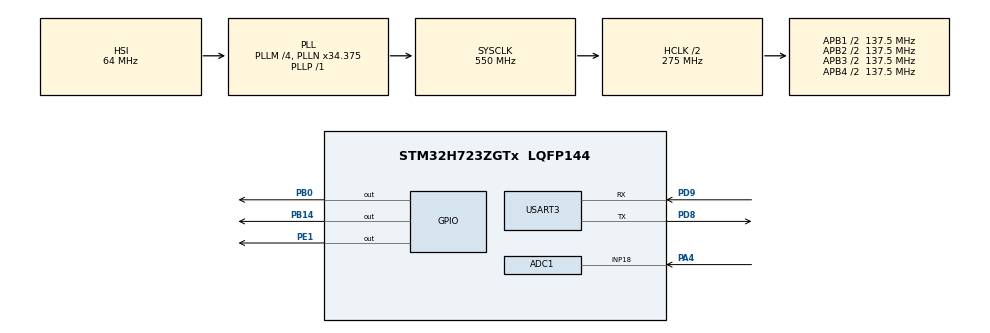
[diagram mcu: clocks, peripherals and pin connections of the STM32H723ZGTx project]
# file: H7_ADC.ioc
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ADC1.Channel-1\#ChannelRegularConversion=ADC_CHANNEL_18
ADC1.ContinuousConvMode=ENABLE
ADC1.ConversionDataManagement=ADC_CONVERSIONDATA_DMA_CIRCULAR
ADC1.NbrOfConversionFlag=1
ADC1.OffsetNumber-1\#ChannelRegularConversion=ADC_OFFSET_NONE
ADC1.OffsetSignedSaturation-1\#ChannelRegularConversion=DISABLE
ADC1.Rank-1\#ChannelRegularConversion=1
ADC1.SamplingTime-1\#ChannelRegularConversion=ADC_SAMPLETIME_1CYCLE_5
ADC1.master=1
Dma.ADC1.0.Direction=DMA_PERIPH_TO_MEMORY
Dma.ADC1.0.EventEnable=DISABLE
Dma.ADC1.0.FIFOMode=DMA_FIFOMODE_ENABLE
Dma.ADC1.0.FIFOThreshold=DMA_FIFO_THRESHOLD_FULL
Dma.ADC1.0.Instance=DMA1_Stream0
Dma.ADC1.0.MemBurst=DMA_MBURST_SINGLE
Dma.ADC1.0.MemDataAlignment=DMA_MDATAALIGN_HALFWORD
Dma.ADC1.0.MemInc=DMA_MINC_ENABLE
Dma.ADC1.0.Mode=DMA_CIRCULAR
Dma.ADC1.0.PeriphBurst=DMA_PBURST_SINGLE
Dma.ADC1.0.PeriphDataAlignment=DMA_PDATAALIGN_HALFWORD
Dma.ADC1.0.PeriphInc=DMA_PINC_DISABLE
Dma.ADC1.0.Polarity=HAL_DMAMUX_REQ_GEN_RISING
Dma.ADC1.0.Priority=DMA_PRIORITY_LOW
Dma.ADC1.0.RequestNumber=1
Dma.ADC1.0.SignalID=NONE
Dma.ADC1.0.SyncEnable=DISABLE
Dma.ADC1.0.SyncPolarity=HAL_DMAMUX_SYNC_NO_EVENT
Dma.ADC1.0.SyncRequestNumber=1
Dma.ADC1.0.SyncSignalID=NONE
Dma.Request0=ADC1
Mcu.Family=STM32H7
Mcu.Name=STM32H723ZGTx
Mcu.Package=LQFP144
NVIC.DMA1_Stream0_IRQn=true\:0\:0\:false\:false\:true\:false\:true
NVIC.PriorityGroup=NVIC_PRIORITYGROUP_4
NVIC.USART3_IRQn=true\:0\:0\:false\:false\:true\:true\:true
PA4.Signal=ADCx_INP18
PB0.GPIO_Speed=GPIO_SPEED_FREQ_LOW
PB0.Signal=GPIO_Output
PB14.Signal=GPIO_Output
PD8.Mode=Asynchronous
PD8.Signal=USART3_TX
PD9.Mode=Asynchronous
PD9.Signal=USART3_RX
PE1.Signal=GPIO_Output
PH0-OSC_IN.Mode=HSE-External-Oscillator
PH0-OSC_IN.Signal=RCC_OSC_IN
PH1-OSC_OUT.Mode=HSE-External-Oscillator
PH1-OSC_OUT.Signal=RCC_OSC_OUT
ProjectManager.HeapSize=0x200
ProjectManager.StackSize=0x400
ProjectManager.TargetToolchain=STM32CubeIDE
RCC.ADCCLockSelection=RCC_ADCCLKSOURCE_PLL3
RCC.ADCFreq_Value=160000000
RCC.APB1Freq_Value=137500000
RCC.APB2Freq_Value=137500000
RCC.APB3Freq_Value=137500000
RCC.APB4Freq_Value=137500000
RCC.CortexFreq_Value=550000000
RCC.D1PPRE=RCC_APB3_DIV2
RCC.D2PPRE1=RCC_APB1_DIV2
RCC.D2PPRE2=RCC_APB2_DIV2
RCC.D3PPRE=RCC_APB4_DIV2
RCC.DIVM1=4
RCC.DIVM2=4
RCC.DIVN1=34
RCC.DIVN2=12
RCC.DIVN3=160
RCC.DIVP1=1
RCC.DIVQ1=4
RCC.HCLKFreq_Value=275000000
RCC.HPRE=RCC_HCLK_DIV2
RCC.HSE_VALUE=8000000
RCC.PLL2FRACN=0
RCC.PLLFRACN=3072
RCC.SYSCLKFreq_VALUE=550000000
RCC.SYSCLKSource=RCC_SYSCLKSOURCE_PLLCLK
RCC.USBCLockSelection=RCC_USBCLKSOURCE_HSI48
RCC.USBFreq_Value=48000000
SH.ADCx_INP18.0=ADC1_INP18,IN18-Single-Ended
USART3.VirtualMode-Asynchronous=VM_ASYNC
board=NUCLEO-H723ZG

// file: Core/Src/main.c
/* USER CODE BEGIN Header */
/**
  ******************************************************************************
  * @file           : main.c
  * @brief          : Main program body
  ******************************************************************************
  * @attention
  *
  * Copyright (c) 2022 STMicroelectronics.
  * All rights reserved.
  *
  * This software is licensed under terms that can be found in the LICENSE file
  * in the root directory of this software component.
  * If no LICENSE file comes with this software, it is provided AS-IS.
  *
  ******************************************************************************
  */
/* USER CODE END Header */
#include "main.h"

/* USER CODE BEGIN Includes */
	/*
	 * INSTRUCTIONS
	 * DMA init before ADC
	 * Continous conversion mode
	 * DMA management circular mode
	 */
#include <stdio.h>
#include <stdarg.h>
#include <string.h>
/* USER CODE END Includes */

ADC_HandleTypeDef hadc1;
DMA_HandleTypeDef hdma_adc1;

UART_HandleTypeDef huart3;

/* USER CODE BEGIN PV */
#define BUF_SIZE	1024 * 10

//static uint16_t adc_test;
static uint16_t adc_buffer[BUF_SIZE];

static uint32_t counter = 0;
/* USER CODE END PV */

void SystemClock_Config(void);
static void MX_GPIO_Init(void);
static void MX_ADC1_Init(void);
static void MX_DMA_Init(void);
static void MX_USART3_UART_Init(void);

/* USER CODE BEGIN 0 */
void debug(const void *format, ...)
{

	// Some place to put the string
	static char buffer[400];

	// Write the string to the buffer
	int len;
	va_list args;
	va_start(args, format);
	len=vsprintf(buffer, format, args);
	va_end(args);

	// Send the buffer to Serial
	HAL_UART_Transmit(&huart3, (uint8_t *)buffer, len, HAL_MAX_DELAY);
}
/* USER CODE END 0 */

int main(void)
{

  /* MCU Configuration--------------------------------------------------------*/

  /* Reset of all peripherals, Initializes the Flash interface and the Systick. */
  HAL_Init();

  /* Configure the system clock */
  SystemClock_Config();

  /* USER CODE BEGIN SysInit */
  MX_DMA_Init();
  /* USER CODE END SysInit */

  /* Initialize all configured peripherals */
  MX_GPIO_Init();
  MX_ADC1_Init();
  MX_USART3_UART_Init();
  /* USER CODE BEGIN 2 */
  if(HAL_ADC_Start_DMA(&hadc1, (uint32_t *)adc_buffer, BUF_SIZE) != HAL_OK)
  {
	  Error_Handler();
  }

//  debug("ADC H7 - System clock freq = %u MHz\r\n", HAL_RCC_GetSysClockFreq() / (1000 * 1000));

  debug("Index, value\r\n");

//  if(HAL_ADC_Start_DMA(&hadc1, &adc_test, 1) != HAL_OK)
//  {
//	  Error_Handler();
//  }

//  HAL_ADC_Start_IT(&hadc1);
  /* USER CODE END 2 */

  /* Infinite loop */
  /* USER CODE BEGIN WHILE */
  while (1)
  {
	  HAL_Delay(1000);
	  if(counter >= 10000)
	  {
		HAL_ADC_Stop_DMA(&hadc1);

		static uint32_t index = 0;

		for (int i = 0; i < BUF_SIZE; i++)
		{
//			debug("[Sample %d]: %u\r\n", i, adc_buffer[i]);
			debug("%u, %u\r\n", index++, adc_buffer[i]);
		}

		counter = 0;

//		break;

	    if(HAL_ADC_Start_DMA(&hadc1, (uint32_t *)adc_buffer, BUF_SIZE) != HAL_OK)
	    {
		    Error_Handler();
	    }
	  }
    /* USER CODE END WHILE */

    /* USER CODE BEGIN 3 */
//	  HAL_ADC_Start(&hadc1);
//	  HAL_ADC_PollForConversion(&hadc1, HAL_MAX_DELAY);
//	  adc_test = HAL_ADC_GetValue(&hadc1);
//	  GPIOB->ODR ^= (1 << 0);
  }
  /* USER CODE END 3 */
}

void SystemClock_Config(void)
{
  RCC_OscInitTypeDef RCC_OscInitStruct = {0};
  RCC_ClkInitTypeDef RCC_ClkInitStruct = {0};

  /** Supply configuration update enable
  */
  HAL_PWREx_ConfigSupply(PWR_LDO_SUPPLY);
  /** Configure the main internal regulator output voltage
  */
  __HAL_PWR_VOLTAGESCALING_CONFIG(PWR_REGULATOR_VOLTAGE_SCALE0);

  while(!__HAL_PWR_GET_FLAG(PWR_FLAG_VOSRDY)) {}
  /** Macro to configure the PLL clock source
  */
  __HAL_RCC_PLL_PLLSOURCE_CONFIG(RCC_PLLSOURCE_HSI);
  /** Initializes the RCC Oscillators according to the specified parameters
  * in the RCC_OscInitTypeDef structure.
  */
  RCC_OscInitStruct.OscillatorType = RCC_OSCILLATORTYPE_HSI;
  RCC_OscInitStruct.HSIState = RCC_HSI_DIV1;
  RCC_OscInitStruct.HSICalibrationValue = RCC_HSICALIBRATION_DEFAULT;
  RCC_OscInitStruct.PLL.PLLState = RCC_PLL_ON;
  RCC_OscInitStruct.PLL.PLLSource = RCC_PLLSOURCE_HSI;
  RCC_OscInitStruct.PLL.PLLM = 4;
  RCC_OscInitStruct.PLL.PLLN = 34;
  RCC_OscInitStruct.PLL.PLLP = 1;
  RCC_OscInitStruct.PLL.PLLQ = 4;
  RCC_OscInitStruct.PLL.PLLR = 2;
  RCC_OscInitStruct.PLL.PLLRGE = RCC_PLL1VCIRANGE_3;
  RCC_OscInitStruct.PLL.PLLVCOSEL = RCC_PLL1VCOWIDE;
  RCC_OscInitStruct.PLL.PLLFRACN = 3072;
  if (HAL_RCC_OscConfig(&RCC_OscInitStruct) != HAL_OK)
  {
    Error_Handler();
  }
  /** Initializes the CPU, AHB and APB buses clocks
  */
  RCC_ClkInitStruct.ClockType = RCC_CLOCKTYPE_HCLK|RCC_CLOCKTYPE_SYSCLK
                              |RCC_CLOCKTYPE_PCLK1|RCC_CLOCKTYPE_PCLK2
                              |RCC_CLOCKTYPE_D3PCLK1|RCC_CLOCKTYPE_D1PCLK1;
  RCC_ClkInitStruct.SYSCLKSource = RCC_SYSCLKSOURCE_PLLCLK;
  RCC_ClkInitStruct.SYSCLKDivider = RCC_SYSCLK_DIV1;
  RCC_ClkInitStruct.AHBCLKDivider = RCC_HCLK_DIV2;
  RCC_ClkInitStruct.APB3CLKDivider = RCC_APB3_DIV2;
  RCC_ClkInitStruct.APB1CLKDivider = RCC_APB1_DIV2;
  RCC_ClkInitStruct.APB2CLKDivider = RCC_APB2_DIV2;
  RCC_ClkInitStruct.APB4CLKDivider = RCC_APB4_DIV2;

  if (HAL_RCC_ClockConfig(&RCC_ClkInitStruct, FLASH_LATENCY_3) != HAL_OK)
  {
    Error_Handler();
  }
}

static void MX_ADC1_Init(void)
{

  ADC_MultiModeTypeDef multimode = {0};
  ADC_ChannelConfTypeDef sConfig = {0};

  /** Common config
  */
  hadc1.Instance = ADC1;
  hadc1.Init.ClockPrescaler = ADC_CLOCK_ASYNC_DIV1;
  hadc1.Init.Resolution = ADC_RESOLUTION_16B;
  hadc1.Init.ScanConvMode = ADC_SCAN_DISABLE;
  hadc1.Init.EOCSelection = ADC_EOC_SINGLE_CONV;
  hadc1.Init.LowPowerAutoWait = DISABLE;
  hadc1.Init.ContinuousConvMode = ENABLE;
  hadc1.Init.NbrOfConversion = 1;
  hadc1.Init.DiscontinuousConvMode = DISABLE;
  hadc1.Init.ExternalTrigConv = ADC_SOFTWARE_START;
  hadc1.Init.ExternalTrigConvEdge = ADC_EXTERNALTRIGCONVEDGE_NONE;
  hadc1.Init.ConversionDataManagement = ADC_CONVERSIONDATA_DMA_CIRCULAR;
  hadc1.Init.Overrun = ADC_OVR_DATA_PRESERVED;
  hadc1.Init.LeftBitShift = ADC_LEFTBITSHIFT_NONE;
  hadc1.Init.OversamplingMode = DISABLE;
  if (HAL_ADC_Init(&hadc1) != HAL_OK)
  {
    Error_Handler();
  }
  /** Configure the ADC multi-mode
  */
  multimode.Mode = ADC_MODE_INDEPENDENT;
  if (HAL_ADCEx_MultiModeConfigChannel(&hadc1, &multimode) != HAL_OK)
  {
    Error_Handler();
  }
  /** Configure Regular Channel
  */
  sConfig.Channel = ADC_CHANNEL_18;
  sConfig.Rank = ADC_REGULAR_RANK_1;
  sConfig.SamplingTime = ADC_SAMPLETIME_1CYCLE_5;
  sConfig.SingleDiff = ADC_SINGLE_ENDED;
  sConfig.OffsetNumber = ADC_OFFSET_NONE;
  sConfig.Offset = 0;
  sConfig.OffsetSignedSaturation = DISABLE;
  if (HAL_ADC_ConfigChannel(&hadc1, &sConfig) != HAL_OK)
  {
    Error_Handler();
  }

}

static void MX_USART3_UART_Init(void)
{

  huart3.Instance = USART3;
  huart3.Init.BaudRate = 115200;
  huart3.Init.WordLength = UART_WORDLENGTH_8B;
  huart3.Init.StopBits = UART_STOPBITS_1;
  huart3.Init.Parity = UART_PARITY_NONE;
  huart3.Init.Mode = UART_MODE_TX_RX;
  huart3.Init.HwFlowCtl = UART_HWCONTROL_NONE;
  huart3.Init.OverSampling = UART_OVERSAMPLING_16;
  huart3.Init.OneBitSampling = UART_ONE_BIT_SAMPLE_DISABLE;
  huart3.Init.ClockPrescaler = UART_PRESCALER_DIV1;
  huart3.AdvancedInit.AdvFeatureInit = UART_ADVFEATURE_NO_INIT;
  if (HAL_UART_Init(&huart3) != HAL_OK)
  {
    Error_Handler();
  }
  if (HAL_UARTEx_SetTxFifoThreshold(&huart3, UART_TXFIFO_THRESHOLD_1_8) != HAL_OK)
  {
    Error_Handler();
  }
  if (HAL_UARTEx_SetRxFifoThreshold(&huart3, UART_RXFIFO_THRESHOLD_1_8) != HAL_OK)
  {
    Error_Handler();
  }
  if (HAL_UARTEx_DisableFifoMode(&huart3) != HAL_OK)
  {
    Error_Handler();
  }

}

static void MX_DMA_Init(void)
{

  /* DMA controller clock enable */
  __HAL_RCC_DMA1_CLK_ENABLE();

  /* DMA interrupt init */
  /* DMA1_Stream0_IRQn interrupt configuration */
  HAL_NVIC_SetPriority(DMA1_Stream0_IRQn, 0, 0);
  HAL_NVIC_EnableIRQ(DMA1_Stream0_IRQn);

}

static void MX_GPIO_Init(void)
{
  GPIO_InitTypeDef GPIO_InitStruct = {0};

  /* GPIO Ports Clock Enable */
  __HAL_RCC_GPIOH_CLK_ENABLE();
  __HAL_RCC_GPIOA_CLK_ENABLE();
  __HAL_RCC_GPIOB_CLK_ENABLE();
  __HAL_RCC_GPIOD_CLK_ENABLE();
  __HAL_RCC_GPIOE_CLK_ENABLE();

  /*Configure GPIO pin Output Level */
  HAL_GPIO_WritePin(GPIOB, GPIO_PIN_0|GPIO_PIN_14, GPIO_PIN_RESET);

  /*Configure GPIO pin Output Level */
  HAL_GPIO_WritePin(GPIOE, GPIO_PIN_1, GPIO_PIN_RESET);

  /*Configure GPIO pins : PB0 PB14 */
  GPIO_InitStruct.Pin = GPIO_PIN_0|GPIO_PIN_14;
  GPIO_InitStruct.Mode = GPIO_MODE_OUTPUT_PP;
  GPIO_InitStruct.Pull = GPIO_NOPULL;
  GPIO_InitStruct.Speed = GPIO_SPEED_FREQ_LOW;
  HAL_GPIO_Init(GPIOB, &GPIO_InitStruct);

  /*Configure GPIO pin : PE1 */
  GPIO_InitStruct.Pin = GPIO_PIN_1;
  GPIO_InitStruct.Mode = GPIO_MODE_OUTPUT_PP;
  GPIO_InitStruct.Pull = GPIO_NOPULL;
  GPIO_InitStruct.Speed = GPIO_SPEED_FREQ_LOW;
  HAL_GPIO_Init(GPIOE, &GPIO_InitStruct);

}

/* USER CODE BEGIN 4 */
void HAL_ADC_ConvCpltCallback(ADC_HandleTypeDef *hadc)
{
	GPIOB->ODR ^= (1 << 0);
	counter++;
//	HAL_ADC_GetValue(&hadc1);
//	HAL_ADC_Start_IT(&hadc1);
}
/* USER CODE END 4 */

void Error_Handler(void)
{
  /* USER CODE BEGIN Error_Handler_Debug */
  /* User can add his own implementation to report the HAL error return state */
	HAL_GPIO_WritePin(GPIOB, GPIO_PIN_14, GPIO_PIN_SET);
  __disable_irq();
  while (1)
  {
  }
  /* USER CODE END Error_Handler_Debug */
}
